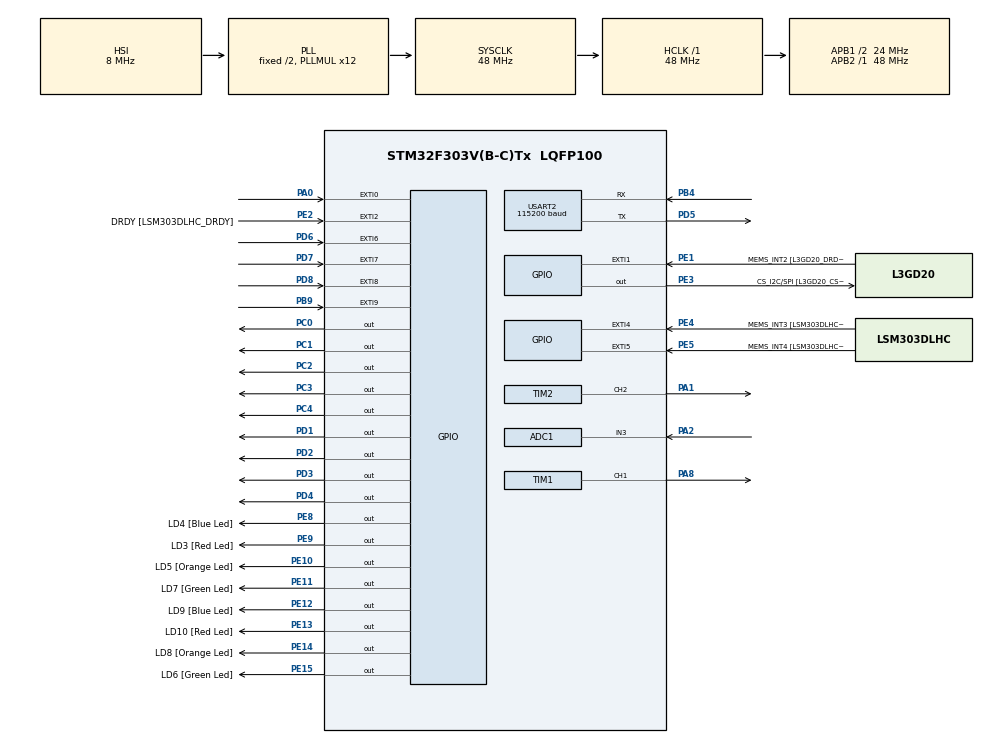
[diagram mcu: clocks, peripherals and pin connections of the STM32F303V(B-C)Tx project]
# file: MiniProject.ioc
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ADC1.Channel-0\#ChannelRegularConversion=ADC_CHANNEL_3
ADC1.NbrOfConversionFlag=1
ADC1.Offset-0\#ChannelRegularConversion=0
ADC1.OffsetNumber-0\#ChannelRegularConversion=ADC_OFFSET_NONE
ADC1.Rank-0\#ChannelRegularConversion=1
ADC1.SamplingTime-0\#ChannelRegularConversion=ADC_SAMPLETIME_181CYCLES_5
ADC1.SamplingTimeOPAMP-0\#ChannelRegularConversion=ADC_SAMPLETIME_19CYCLES_5
ADC1.master=1
Mcu.Family=STM32F3
Mcu.Name=STM32F303V(B-C)Tx
Mcu.Package=LQFP100
NVIC.ADC1_2_IRQn=true\:0\:0\:false\:false\:true\:true\:true\:true
NVIC.EXTI0_IRQn=true\:0\:0\:false\:false\:true\:true\:true\:true
NVIC.EXTI9_5_IRQn=true\:0\:0\:false\:false\:true\:true\:true\:true
NVIC.PriorityGroup=NVIC_PRIORITYGROUP_0
NVIC.TIM6_DAC_IRQn=true\:0\:0\:false\:false\:true\:true\:true\:true
NVIC.USART2_IRQn=true\:0\:0\:false\:false\:true\:true\:true\:true
PA0.GPIO_ModeDefaultEXTI=GPIO_MODE_IT_RISING
PA0.Signal=GPXTI0
PA1.Signal=S_TIM2_CH2
PA11.GPIO_Label=DM
PA11.Signal=USB_DM
PA12.GPIO_Label=DP
PA12.Signal=USB_DP
PA13.GPIO_Label=SWDIO
PA13.Signal=SYS_JTMS-SWDIO
PA14.GPIO_Label=SWCLK
PA14.Signal=SYS_JTCK-SWCLK
PA2.Mode=IN3-Single-Ended
PA2.Signal=ADC1_IN3
PA5.GPIO_Label=SPI1_SCK [L3GD20_SCL/SPC]
PA5.GPIO_Mode=GPIO_MODE_AF_PP
PA5.GPIO_PuPd=GPIO_NOPULL
PA5.GPIO_Speed=GPIO_SPEED_FREQ_LOW
PA5.Signal=SPI1_SCK
PA6.GPIO_Label=SPI1_MISO [L3GD20_SA0/SDO]
PA6.GPIO_Mode=GPIO_MODE_AF_PP
PA6.GPIO_PuPd=GPIO_NOPULL
PA6.GPIO_Speed=GPIO_SPEED_FREQ_LOW
PA6.Signal=SPI1_MISO
PA7.GPIO_Label=SPI1_MISO [L3GD20_SDA/SDI/SDO]
PA7.GPIO_Mode=GPIO_MODE_AF_PP
PA7.GPIO_PuPd=GPIO_NOPULL
PA7.GPIO_Speed=GPIO_SPEED_FREQ_LOW
PA7.Signal=SPI1_MOSI
PA8.Signal=S_TIM1_CH1
PB3.GPIO_Label=SWO
PB3.Signal=SYS_JTDO-TRACESWO
PB4.Mode=Asynchronous
PB4.Signal=USART2_RX
PB6.GPIO_FM6=__NULL
PB6.GPIO_Label=I2C1_SCL [LSM303DLHC_SCL]
PB6.GPIO_Mode=GPIO_MODE_AF_OD
PB6.GPIO_PuPd=GPIO_NOPULL
PB6.GPIO_Speed=GPIO_SPEED_FREQ_LOW
PB6.Signal=I2C1_SCL
PB7.GPIO_FM7=__NULL
PB7.GPIO_Label=I2C1_SDA [LSM303DLHC_SDA]
PB7.GPIO_Mode=GPIO_MODE_AF_OD
PB7.GPIO_PuPd=GPIO_NOPULL
PB7.GPIO_Speed=GPIO_SPEED_FREQ_LOW
PB7.Signal=I2C1_SDA
PB9.GPIO_ModeDefaultEXTI=GPIO_MODE_IT_RISING_FALLING
PB9.GPIO_PuPd=GPIO_PULLDOWN
PB9.Signal=GPXTI9
PC0.Signal=GPIO_Output
PC1.Signal=GPIO_Output
PC14-OSC32_IN.GPIO_Label=OSC32_IN
PC14-OSC32_IN.Signal=RCC_OSC32_IN
PC15-OSC32_OUT.GPIO_Label=OSC32_OUT
PC15-OSC32_OUT.Signal=RCC_OSC32_OUT
PC2.Signal=GPIO_Output
PC3.Signal=GPIO_Output
PC4.Signal=GPIO_Output
PD1.Signal=GPIO_Output
PD2.Signal=GPIO_Output
PD3.Signal=GPIO_Output
PD4.Signal=GPIO_Output
PD5.Mode=Asynchronous
PD5.Signal=USART2_TX
PD6.GPIO_ModeDefaultEXTI=GPIO_MODE_IT_RISING_FALLING
PD6.GPIO_PuPd=GPIO_PULLDOWN
PD6.Signal=GPXTI6
PD7.GPIO_ModeDefaultEXTI=GPIO_MODE_IT_RISING_FALLING
PD7.GPIO_PuPd=GPIO_PULLDOWN
PD7.Signal=GPXTI7
PD8.GPIO_ModeDefaultEXTI=GPIO_MODE_IT_RISING_FALLING
PD8.GPIO_PuPd=GPIO_PULLDOWN
PD8.Signal=GPXTI8
PE1.GPIO_Label=MEMS_INT2 [L3GD20_DRDY/INT2]
PE1.GPIO_ModeDefaultEXTI=GPIO_MODE_EVT_RISING
PE1.GPIO_PuPd=GPIO_NOPULL
PE1.Signal=GPXTI1
PE10.GPIO_Label=LD5 [Orange Led]
PE10.GPIO_ModeDefaultOutputPP=GPIO_MODE_OUTPUT_PP
PE10.GPIO_PuPd=GPIO_NOPULL
PE10.GPIO_Speed=GPIO_SPEED_FREQ_LOW
PE10.Signal=GPIO_Output
PE11.GPIO_Label=LD7 [Green Led]
PE11.GPIO_ModeDefaultOutputPP=GPIO_MODE_OUTPUT_PP
PE11.GPIO_PuPd=GPIO_NOPULL
PE11.GPIO_Speed=GPIO_SPEED_FREQ_LOW
PE11.Signal=GPIO_Output
PE12.GPIO_Label=LD9 [Blue Led]
PE12.GPIO_ModeDefaultOutputPP=GPIO_MODE_OUTPUT_PP
PE12.GPIO_PuPd=GPIO_NOPULL
PE12.GPIO_Speed=GPIO_SPEED_FREQ_LOW
PE12.Signal=GPIO_Output
PE13.GPIO_Label=LD10 [Red Led]
PE13.GPIO_ModeDefaultOutputPP=GPIO_MODE_OUTPUT_PP
PE13.GPIO_PuPd=GPIO_NOPULL
PE13.GPIO_Speed=GPIO_SPEED_FREQ_LOW
PE13.Signal=GPIO_Output
PE14.GPIO_Label=LD8 [Orange Led]
PE14.GPIO_ModeDefaultOutputPP=GPIO_MODE_OUTPUT_PP
PE14.GPIO_PuPd=GPIO_NOPULL
PE14.GPIO_Speed=GPIO_SPEED_FREQ_LOW
PE14.Signal=GPIO_Output
PE15.GPIO_Label=LD6 [Green Led]
PE15.GPIO_ModeDefaultOutputPP=GPIO_MODE_OUTPUT_PP
PE15.GPIO_PuPd=GPIO_NOPULL
PE15.GPIO_Speed=GPIO_SPEED_FREQ_LOW
PE15.Signal=GPIO_Output
PE2.GPIO_Label=DRDY [LSM303DLHC_DRDY]
PE2.GPIO_ModeDefaultEXTI=GPIO_MODE_EVT_RISING
PE2.GPIO_PuPd=GPIO_NOPULL
PE2.Signal=GPXTI2
PE3.GPIO_Label=CS_I2C/SPI [L3GD20_CS_I2C/SPI]
PE3.GPIO_ModeDefaultOutputPP=GPIO_MODE_OUTPUT_PP
PE3.GPIO_PuPd=GPIO_NOPULL
PE3.GPIO_Speed=GPIO_SPEED_FREQ_LOW
PE3.Signal=GPIO_Output
PE4.GPIO_Label=MEMS_INT3 [LSM303DLHC_INT1]
PE4.GPIO_ModeDefaultEXTI=GPIO_MODE_EVT_RISING
PE4.GPIO_PuPd=GPIO_NOPULL
PE4.Signal=GPXTI4
PE5.GPIO_Label=MEMS_INT4 [LSM303DLHC_INT2]
PE5.GPIO_ModeDefaultEXTI=GPIO_MODE_EVT_RISING
PE5.GPIO_PuPd=GPIO_NOPULL
PE5.Signal=GPXTI5
PE8.GPIO_Label=LD4 [Blue Led]
PE8.GPIO_ModeDefaultOutputPP=GPIO_MODE_OUTPUT_PP
PE8.GPIO_PuPd=GPIO_NOPULL
PE8.GPIO_Speed=GPIO_SPEED_FREQ_LOW
PE8.Signal=GPIO_Output
PE9.GPIO_Label=LD3 [Red Led]
PE9.GPIO_ModeDefaultOutputPP=GPIO_MODE_OUTPUT_PP
PE9.GPIO_PuPd=GPIO_NOPULL
PE9.GPIO_Speed=GPIO_SPEED_FREQ_LOW
PE9.Signal=GPIO_Output
PF0-OSC_IN.GPIO_Label=OSC_IN
PF0-OSC_IN.Signal=RCC_OSC_IN
PF1-OSC_OUT.GPIO_Label=OSC_OUT
PF1-OSC_OUT.Signal=RCC_OSC_OUT
ProjectManager.HeapSize=0x200
ProjectManager.StackSize=0x400
ProjectManager.TargetToolchain=STM32CubeIDE
RCC.AHBFreq_Value=48000000
RCC.APB1CLKDivider=RCC_HCLK_DIV2
RCC.APB1Freq_Value=24000000
RCC.APB1TimFreq_Value=48000000
RCC.APB2Freq_Value=48000000
RCC.APB2TimFreq_Value=48000000
RCC.CortexFreq_Value=48000000
RCC.HCLKFreq_Value=48000000
RCC.HSE_VALUE=8000000
RCC.HSI_VALUE=8000000
RCC.LSE_VALUE=32768
RCC.PLLMUL=RCC_PLL_MUL12
RCC.SYSCLKFreq_VALUE=48000000
RCC.SYSCLKSourceVirtual=RCC_SYSCLKSOURCE_PLLCLK
RCC.USBFreq_Value=48000000
SH.S_TIM1_CH1.0=TIM1_CH1,PWM Generation1 CH1
SH.S_TIM2_CH2.0=TIM2_CH2,PWM Generation2 CH2
TIM1.Channel-PWM\ Generation1\ CH1=TIM_CHANNEL_1
TIM1.Period=1000-1
TIM1.Prescaler=48-1
TIM2.Channel-PWM\ Generation2\ CH2=TIM_CHANNEL_2
TIM2.Channel-PWM\ Generation3\ CH3=TIM_CHANNEL_3
TIM6.Period=100-1
TIM6.Prescaler=240-1
USART2.BaudRate=115200
USART2.VirtualMode-Asynchronous=VM_ASYNC
VP_TIM1_VS_ClockSourceINT.Mode=Internal
VP_TIM2_VS_ClockSourceINT.Mode=Internal
VP_TIM6_VS_ClockSourceINT.Mode=Enable_Timer
board=STM32F3DISCOVERY

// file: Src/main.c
/* USER CODE BEGIN Header */
/**
  ******************************************************************************
  * @file           : main.c
  * @brief          : Main program body
  ******************************************************************************
  * @attention
  *
  * Copyright (c) 2024 STMicroelectronics.
  * All rights reserved.
  *
  * This software is licensed under terms that can be found in the LICENSE file
  * in the root directory of this software component.
  * If no LICENSE file comes with this software, it is provided AS-IS.
  *
  ******************************************************************************
  */
/* USER CODE END Header */
#include "main.h"

ADC_HandleTypeDef hadc1;

TIM_HandleTypeDef htim1;
TIM_HandleTypeDef htim2;
TIM_HandleTypeDef htim6;

UART_HandleTypeDef huart2;

void SystemClock_Config(void);
static void MX_GPIO_Init(void);
static void MX_TIM6_Init(void);
static void MX_TIM1_Init(void);
static void MX_TIM2_Init(void);
static void MX_ADC1_Init(void);
static void MX_USART2_UART_Init(void);

/* USER CODE BEGIN 0 */
#define ARRAY_LENGTH(arr) (sizeof(arr)/sizeof(arr[0]))
#define DEBOUNCE_TIME 100
#define MAX_MUSIC 4

#define D1_HIGH HAL_GPIO_WritePin(GPIOD, GPIO_PIN_1, GPIO_PIN_SET);
#define D1_LOW HAL_GPIO_WritePin(GPIOD, GPIO_PIN_1, GPIO_PIN_RESET);

#define D2_HIGH HAL_GPIO_WritePin(GPIOD, GPIO_PIN_2, GPIO_PIN_SET);
#define D2_LOW HAL_GPIO_WritePin(GPIOD, GPIO_PIN_2, GPIO_PIN_RESET);

#define D3_HIGH HAL_GPIO_WritePin(GPIOD, GPIO_PIN_3, GPIO_PIN_SET);
#define D3_LOW HAL_GPIO_WritePin(GPIOD, GPIO_PIN_3, GPIO_PIN_RESET);

#define D4_HIGH HAL_GPIO_WritePin(GPIOD, GPIO_PIN_4, GPIO_PIN_SET);
#define D4_LOW HAL_GPIO_WritePin(GPIOD, GPIO_PIN_4, GPIO_PIN_RESET);

#define P_HIGH HAL_GPIO_WritePin(GPIOC, GPIO_PIN_4, GPIO_PIN_SET);
#define P_LOW HAL_GPIO_WritePin(GPIOC, GPIO_PIN_4, GPIO_PIN_RESET);

typedef struct
{
    uint16_t frequency;
    uint16_t duration;
} Tone;

uint32_t debounce=0;
int press=0;
int pause = 1;
int music_number=0;
int turn_m[MAX_MUSIC];

extern TIM_HandleTypeDef htim2;
TIM_HandleTypeDef *pwm_timer= &htim2;
uint32_t pwm_channel = TIM_CHANNEL_2;

const Tone *volatile melody_ptr;
volatile uint16_t melody_tone_count=0;
volatile uint16_t current_tone_number=1;
volatile uint32_t current_tone_end=0;
int volume =10;
volatile uint16_t pre_volume;
volatile uint32_t last_butten_pressed;

uint32_t startTime=0;
int turn=1;
uint8_t temp1=1, temp2=2, temp3=3, temp4=4;
int mode=1, display=1;

uint8_t data[100], d, letter=0;

int second=0, flag_second=0;
uint32_t second_pause;

int brightness=100;

////////////////////////////////// music

#define NOTE_B0  31
#define NOTE_C1  33
#define NOTE_CS1 35
#define NOTE_D1  37
#define NOTE_DS1 39
#define NOTE_E1  41
#define NOTE_F1  44
#define NOTE_FS1 46
#define NOTE_G1  49
#define NOTE_GS1 52
#define NOTE_A1  55
#define NOTE_AS1 58
#define NOTE_B1  62
#define NOTE_C2  65
#define NOTE_CS2 69
#define NOTE_D2  73
#define NOTE_DS2 78
#define NOTE_E2  82
#define NOTE_F2  87
#define NOTE_FS2 93
#define NOTE_G2  98
#define NOTE_GS2 104
#define NOTE_A2  110
#define NOTE_AS2 117
#define NOTE_B2  123
#define NOTE_C3  131
#define NOTE_CS3 139
#define NOTE_D3  147
#define NOTE_DS3 156
#define NOTE_E3  165
#define NOTE_F3  175
#define NOTE_FS3 185
#define NOTE_G3  196
#define NOTE_GS3 208
#define NOTE_A3  220
#define NOTE_AS3 233
#define NOTE_B3  247
#define NOTE_C4  262
#define NOTE_CS4 277
#define NOTE_D4  294
#define NOTE_DS4 311
#define NOTE_E4  330
#define NOTE_F4  349
#define NOTE_FS4 370
#define NOTE_G4  392
#define NOTE_GS4 415
#define NOTE_A4  440
#define NOTE_AS4 466
#define NOTE_B4  494
#define NOTE_C5  523
#define NOTE_CS5 554
#define NOTE_D5  587
#define NOTE_DS5 622
#define NOTE_E5  659
#define NOTE_F5  698
#define NOTE_FS5 740
#define NOTE_G5  784
#define NOTE_GS5 831
#define NOTE_A5  880
#define NOTE_AS5 932
#define NOTE_B5  988
#define NOTE_C6  1047
#define NOTE_CS6 1109
#define NOTE_D6  1175
#define NOTE_DS6 1245
#define NOTE_E6  1319
#define NOTE_F6  1397
#define NOTE_FS6 1480
#define NOTE_G6  1568
#define NOTE_GS6 1661
#define NOTE_A6  1760
#define NOTE_AS6 1865
#define NOTE_B6  1976
#define NOTE_C7  2093
#define NOTE_CS7 2217
#define NOTE_D7  2349
#define NOTE_DS7 2489
#define NOTE_E7  2637
#define NOTE_F7  2794
#define NOTE_FS7 2960
#define NOTE_G7  3136
#define NOTE_GS7 3322
#define NOTE_A7  3520
#define NOTE_AS7 3729
#define NOTE_B7  3951
#define NOTE_C8  4186
#define NOTE_CS8 4435
#define NOTE_D8  4699
#define NOTE_DS8 4978
#define REST      0

const Tone super_mario_bros[] = {
	{2637,306}, // E7 x2
	{   0,153}, // x3 <-- Silence
	{2637,153}, // E7
	{   0,153}, // x3
	{2093,153}, // C7
	{2637,153}, // E7
	{   0,153}, // x3
	{3136,153}, // G7
	{   0,459}, // x3
	{1586,153}, // G6
	{   0,459}, // x3

	{2093,153}, // C7
	{   0,306}, // x2
	{1586,153}, // G6
	{   0,306}, // x2
	{1319,153}, // E6
	{   0,306}, // x2
	{1760,153}, // A6
	{   0,153}, // x1
	{1976,153}, // B6
	{   0,153}, // x1
	{1865,153}, // AS6
	{1760,153}, // A6
	{   0,153}, // x1

	{1586,204}, // G6
	{2637,204}, // E7
	{3136,204}, // G7
	{3520,153}, // A7
	{   0,153}, // x1
	{2794,153}, // F7
	{3136,153}, // G7
	{   0,153}, // x1
	{2637,153}, // E7
	{   0,153}, // x1
	{2093,153}, // C7
	{2349,153}, // D7
	{1976,153}, // B6
	{   0,306}, // x2

	{2093,153}, // C7
	{   0,306}, // x2
	{1586,153}, // G6
	{   0,306}, // x2
	{1319,153}, // E6
	{   0,306}, // x2
	{1760,153}, // A6
	{   0,153}, // x1
	{1976,153}, // B6
	{   0,153}, // x1
	{1865,153}, // AS6
	{1760,153}, // A6
	{   0,153}, // x1

	{1586,204}, // G6
	{2637,204}, // E7
	{3136,204}, // G7
	{3520,153}, // A7
	{   0,153}, // x1
	{2794,153}, // F7
	{3136,153}, // G7
	{   0,153}, // x1
	{2637,153}, // E7
	{   0,153}, // x1
	{2093,153}, // C7
	{2349,153}, // D7
	{1976,153}, // B6

	{   0,  0}	// <-- Disable PWM
};

const Tone hedwig_theme[] = {
		// 1 -> 1666 			\		-1666 -> 2499 			\	1660 -> 1494, 2499 -> 2249
		// 2 -> 833     ---------\		-833 -> 1249    ---------\	833 -> 750, 1249 -> 1124
		// 4 -> 416     ---------/		-416 -> 624     ---------/	416 -> 374, 624 -> 561
		// 8 -> 208			    /		-208 -> 312			    /	208 -> 187, 312 -> 281

	{REST, 750},
	{NOTE_D4, 374},
	{NOTE_G4, 561},
	{NOTE_AS4, 187},
	{NOTE_A4, 374},
	{NOTE_G4, 750},
	{NOTE_D5, 374},
	{NOTE_C5, 1124},
	{NOTE_A4, 1124},
	{NOTE_G4, 561},
	{NOTE_AS4, 187},
	{NOTE_A4, 374},
	{NOTE_F4, 750},
	{NOTE_GS4, 374},
	{NOTE_D4, 2249},
	{NOTE_D4, 374},

	{NOTE_G4, 561},
	{NOTE_AS4, 187},
	{NOTE_A4, 374},
	{NOTE_G4, 750},
	{NOTE_D5, 374},
	{NOTE_F5, 750},
	{NOTE_E5, 374},
	{NOTE_DS5, 750},
	{NOTE_B4, 374},
	{NOTE_DS5, 561},
	{NOTE_D5, 187},
	{NOTE_CS5, 374},
	{NOTE_CS4, 750},
	{NOTE_B4, 374},
	{NOTE_G4, 2249},
	{NOTE_AS4, 374},

	{NOTE_D5, 750},
	{NOTE_AS4, 374},
	{NOTE_D5, 750},
	{NOTE_AS4, 374},
	{NOTE_DS5, 750},
	{NOTE_D5, 374},
	{NOTE_CS5, 750},
	{NOTE_A4, 374},
	{NOTE_AS4, 561},
	{NOTE_D5, 187},
	{NOTE_CS5, 374},
	{NOTE_CS4, 750},
	{NOTE_D4, 374},
	{NOTE_D5, 1700},
	{REST, 150},
	{NOTE_AS4, 374},

	{NOTE_D5, 750},
	{NOTE_AS4, 374},
	{NOTE_D5, 750},
	{NOTE_AS4, 374},
	{NOTE_F5, 750},
	{NOTE_E5, 374},
	{NOTE_DS5, 750},
	{NOTE_B4, 374},
	{NOTE_DS5, 561},
	{NOTE_D5, 187},
	{NOTE_CS5, 374},
	{NOTE_CS4, 750},
	{NOTE_AS4, 374},
	{NOTE_G4, 2249},

	{      0,    0}
};

const Tone pink_panther[] = {

	// 1 -> 2000 			\		-500 -> 750 (-4)	       \	2000 -> 1800 			(1)
	// 2 -> 1000    ---------\		-250 -> 375 (-8)   ---------\	1000 -> 900 			(2)
	// 4 -> 500     ---------/		-125 -> 187 (-16)  ---------/	500 -> 450, 750 -> 675 	(4), (-4)
	// 8 -> 250			    /		        			       /	250 -> 225, 375 -> 337 	(8), (-8)
	// 16 -> 125		   			 								125 -> 112, 187 -> 168 	(16), (-16)

  {REST, 900},
  {REST, 450},
  {REST, 225},
  {NOTE_DS4, 225},
  {NOTE_E4, 675},
  {REST, 225},
  {NOTE_FS4, 225},
  {NOTE_G4, 675},
  {REST, 225},
  {NOTE_DS4, 225},
  {NOTE_E4, 337},
  {NOTE_FS4, 225},
  {NOTE_G4, 337},
  {NOTE_C5, 225},
  {NOTE_B4, 337},
  {NOTE_B4, 225},
  {NOTE_G4, 337},
  {NOTE_B4, 225},
  {NOTE_AS4, 900},
  {NOTE_A4, 168},
  {NOTE_G4, 168},
  {NOTE_E4, 168},
  {NOTE_D4, 168},
  {NOTE_E4, 900},
  {REST, 450},
  {REST, 225},
  {NOTE_DS4, 450},

  {NOTE_E4, 675},
  {REST, 225},
  {NOTE_FS4, 225},
  {NOTE_G4, 675},
  {REST, 225},
  {NOTE_DS4, 225},
  {NOTE_E4, 337},
  {NOTE_FS4, 225},
  {NOTE_G4, 337},
  {NOTE_C5, 225},
  {NOTE_B4, 337},
  {NOTE_G4, 225},
  {NOTE_B4, 337},
  {NOTE_E5, 225},
  {NOTE_DS5, 1800},
  {NOTE_D5, 900},
  {REST, 450},
  {REST, 225},
  {NOTE_DS4, 225},
  {NOTE_E4, 750},
  {REST, 225},
  {NOTE_FS4, 225},
  {NOTE_G4, 750},
  {REST, 225},
  {NOTE_DS4, 225},
  {NOTE_E4, 337},
  {NOTE_FS4, 225},
  {NOTE_G4, 337},
  {NOTE_C5, 225},
  {NOTE_B4, 337},
  {NOTE_E4, 225},
  {NOTE_G4, 337},
  {NOTE_B4, 225},

  {NOTE_AS4, 900},
  {NOTE_A4, 168},
  {NOTE_G4, 168},
  {NOTE_E4, 168},
  {NOTE_D4, 168},
  {NOTE_E4, 675},
  {REST, 450},
  {REST, 450},
  {NOTE_E5, 337},
  {NOTE_D5, 225},
  {NOTE_B4, 337},
  {NOTE_A4, 225},
  {NOTE_G4, 337},
  {NOTE_E4, 337},
  {NOTE_AS4, 112},
  {NOTE_A4, 337},
  {NOTE_AS4, 112},
  {NOTE_A4, 337},
  {NOTE_AS4, 112},
  {NOTE_A4, 337},
  {NOTE_AS4, 112},
  {NOTE_A4, 337},
  {NOTE_G4, 168},
  {NOTE_E4, 168},
  {NOTE_D4, 168},
  {NOTE_E4, 112},
  {NOTE_E4, 112},
  {NOTE_E4, 900},
  {		 0,   0}

};

const Tone twinkle_twinkle[] = {
    {523, 500}, // C4
    {523, 500}, // C4
    {659, 500}, // E4
    {659, 500}, // E4
    {739, 500}, // F4
    {739, 500}, // F4
    {659, 500}, // E4
    {587, 500}, // D4
    {587, 500}, // D4
    {523, 500}, // C4
    {523, 500}, // C4
    {659, 500}, // E4
    {659, 500}, // E4
    {587, 500}, // D4
    {587, 500}, // D4
    {523, 500}, // C4
    {0, 0}      // End
};

void PWM_Start() {

    HAL_TIM_PWM_Start(pwm_timer, pwm_channel);
}

void PWM_Cange_Tone(uint16_t pwm_freq, uint16_t volume) {
    if (pwm_freq == 0 || pwm_freq > 20000) {
        __HAL_TIM_SET_COMPARE(pwm_timer, pwm_channel, 0);
    } else {
        const uint32_t internal_clock_freq = HAL_RCC_GetSysClockFreq();

        const uint32_t prescaler = 1 + internal_clock_freq / pwm_freq / 60000;
        const uint32_t timer_clock = internal_clock_freq / prescaler;
        const uint32_t period_cycles = timer_clock / pwm_freq;
        const uint32_t pulse_width = volume * period_cycles / 1000 / 2;

        pwm_timer->Instance->PSC = prescaler - 1;
        pwm_timer->Instance->ARR = period_cycles - 1;
        pwm_timer->Instance->EGR = TIM_EGR_UG;

        __HAL_TIM_SET_COMPARE(pwm_timer, pwm_channel, pulse_width);
    }
}

void Update_music(int input) {

	if (!input) {
		music_number++;

		if (music_number > MAX_MUSIC)
		music_number=1;
	}

	switch(turn_m[music_number-1]){
	  case 1:
		  Change_Melody(super_mario_bros, ARRAY_LENGTH(super_mario_bros));
		  break;
	  case 2:
		  Change_Melody(hedwig_theme, ARRAY_LENGTH(hedwig_theme));
		  break;
	  case 3:
		  Change_Melody(pink_panther, ARRAY_LENGTH(pink_panther));
		  break;
	  case 4:
	  		  Change_Melody(twinkle_twinkle, ARRAY_LENGTH(twinkle_twinkle));
	  		  break;
	}
}

void Change_Melody (const Tone *melody, uint16_t tone_count) {
	melody_ptr = melody;
	melody_tone_count = tone_count;
	current_tone_number=0;
}

void Update_melody() {
	if ((HAL_GetTick() > current_tone_end) && (current_tone_number < melody_tone_count) ) {
		const Tone active_tone = *(melody_ptr + current_tone_number);
		PWM_Cange_Tone (active_tone.frequency, volume);
		current_tone_end = HAL_GetTick() + active_tone.duration;
		current_tone_number++;
	} else if (current_tone_number == melody_tone_count) {
		HAL_GPIO_TogglePin(GPIOE, GPIO_PIN_10);
		Update_music(0);
	}
}

void set_array(int type) {
	if (!type) {
		for(int i = 0; i < MAX_MUSIC; i++) {
			turn_m[i]=i+1;
		}
	} else {

		for (int i = MAX_MUSIC - 1; i > 0; i--) {
			int j = rand() % (i + 1);
			int temp = turn_m[i];
			turn_m[i] = turn_m[j];
			turn_m[j] = temp;
		}

		char s[10];
		snprintf(s, 10, "%d% d% d% d", turn_m[0], turn_m[1], turn_m[2], turn_m[3]);
		HAL_UART_Transmit(&huart2, s, strlen(s), HAL_MAX_DELAY);

		HAL_GPIO_TogglePin(GPIOE, GPIO_PIN_9);
	}

}

////////////////////////////////// 7 segments

uint8_t segmentNumber[10]={
			0x00,
			0x01,
			0x02,
			0x03,
			0x04,
			0x05,
			0x06,
			0x07,
			0x08,
			0x09
};

void SevenSegment_Update(uint8_t number){
	uint8_t segmentPattern = segmentNumber[number];
    HAL_GPIO_WritePin(GPIOC, GPIO_PIN_0, ((segmentPattern >> 0) & 0x01));
    HAL_GPIO_WritePin(GPIOC, GPIO_PIN_1, ((segmentPattern >> 1) & 0x01));
    HAL_GPIO_WritePin(GPIOC, GPIO_PIN_2, ((segmentPattern >> 2) & 0x01));
    HAL_GPIO_WritePin(GPIOC, GPIO_PIN_3, ((segmentPattern >> 3) & 0x01));

}

void refresh_7segments () {

	switch (mode) {
	case 1:
		display = turn_m[music_number-1];
	case 2:
		display = turn_m[music_number-1];
		break;
	case 3:
		display = volume;
		break;
	case 4:
			display = brightness;
			break;
	}

	temp1 = display / 1000;
	temp2 = (display / 100) % 10;
	temp3 = (display / 10) % 10;
	temp4 = display % 10;

	if (turn==1 && ((HAL_GetTick() - startTime) > 5)) {
		D4_LOW;
		SevenSegment_Update(temp1);  // Display the thousands digit
		D1_HIGH;
		turn++;
		startTime = HAL_GetTick();
		P_HIGH;
	}

	if (turn==2 && ((HAL_GetTick() - startTime) > 5)) {
		D1_LOW;
		SevenSegment_Update(temp2);  // Display the thousands digit
		D2_HIGH;
		turn++;
		startTime = HAL_GetTick();
		P_LOW;
	}

	if (turn==3 && ((HAL_GetTick() - startTime) > 5)) {
		D2_LOW;
		SevenSegment_Update(temp3);  // Display the hundreds digit
		D3_HIGH;
		turn++;
		startTime = HAL_GetTick();
		P_HIGH;
	}

	if (turn==4 && ((HAL_GetTick() - startTime) > 5)) {
		D3_LOW;
		SevenSegment_Update(temp4);  // Display the ones digit
		D4_HIGH;
		turn=1;
		startTime = HAL_GetTick();
		P_HIGH;
	}
}

/* USER CODE END 0 */

int main(void)
{

  /* MCU Configuration--------------------------------------------------------*/

  /* Reset of all peripherals, Initializes the Flash interface and the Systick. */
  HAL_Init();

  /* Configure the system clock */
  SystemClock_Config();

  /* Initialize all configured peripherals */
  MX_GPIO_Init();
  MX_TIM6_Init();
  MX_TIM1_Init();
  MX_TIM2_Init();
  MX_ADC1_Init();
  MX_USART2_UART_Init();
  /* USER CODE BEGIN 2 */
  HAL_TIM_Base_Start_IT(&htim6);
  HAL_UART_Receive_IT(&huart2, &d, 1);
  HAL_ADC_Start_IT(&hadc1);

  HAL_TIM_PWM_Start(&htim1, TIM_CHANNEL_1);
  __HAL_TIM_SET_COMPARE(&htim1, TIM_CHANNEL_1, brightness*10);
  set_array(0);
  /* USER CODE END 2 */

  /* Infinite loop */
  while (1)
  {

  }
}

void SystemClock_Config(void)
{
  RCC_OscInitTypeDef RCC_OscInitStruct = {0};
  RCC_ClkInitTypeDef RCC_ClkInitStruct = {0};
  RCC_PeriphCLKInitTypeDef PeriphClkInit = {0};

  /** Initializes the RCC Oscillators according to the specified parameters
  * in the RCC_OscInitTypeDef structure.
  */
  RCC_OscInitStruct.OscillatorType = RCC_OSCILLATORTYPE_HSI;
  RCC_OscInitStruct.HSIState = RCC_HSI_ON;
  RCC_OscInitStruct.HSICalibrationValue = RCC_HSICALIBRATION_DEFAULT;
  RCC_OscInitStruct.PLL.PLLState = RCC_PLL_ON;
  RCC_OscInitStruct.PLL.PLLSource = RCC_PLLSOURCE_HSI;
  RCC_OscInitStruct.PLL.PLLMUL = RCC_PLL_MUL12;
  if (HAL_RCC_OscConfig(&RCC_OscInitStruct) != HAL_OK)
  {
    Error_Handler();
  }

  /** Initializes the CPU, AHB and APB buses clocks
  */
  RCC_ClkInitStruct.ClockType = RCC_CLOCKTYPE_HCLK|RCC_CLOCKTYPE_SYSCLK
                              |RCC_CLOCKTYPE_PCLK1|RCC_CLOCKTYPE_PCLK2;
  RCC_ClkInitStruct.SYSCLKSource = RCC_SYSCLKSOURCE_PLLCLK;
  RCC_ClkInitStruct.AHBCLKDivider = RCC_SYSCLK_DIV1;
  RCC_ClkInitStruct.APB1CLKDivider = RCC_HCLK_DIV2;
  RCC_ClkInitStruct.APB2CLKDivider = RCC_HCLK_DIV1;

  if (HAL_RCC_ClockConfig(&RCC_ClkInitStruct, FLASH_LATENCY_1) != HAL_OK)
  {
    Error_Handler();
  }
  PeriphClkInit.PeriphClockSelection = RCC_PERIPHCLK_USART2|RCC_PERIPHCLK_TIM1
                              |RCC_PERIPHCLK_ADC12;
  PeriphClkInit.Usart2ClockSelection = RCC_USART2CLKSOURCE_PCLK1;
  PeriphClkInit.Adc12ClockSelection = RCC_ADC12PLLCLK_DIV1;
  PeriphClkInit.Tim1ClockSelection = RCC_TIM1CLK_HCLK;
  if (HAL_RCCEx_PeriphCLKConfig(&PeriphClkInit) != HAL_OK)
  {
    Error_Handler();
  }
}

static void MX_ADC1_Init(void)
{

  ADC_MultiModeTypeDef multimode = {0};
  ADC_ChannelConfTypeDef sConfig = {0};

  /** Common config
  */
  hadc1.Instance = ADC1;
  hadc1.Init.ClockPrescaler = ADC_CLOCK_ASYNC_DIV1;
  hadc1.Init.Resolution = ADC_RESOLUTION_12B;
  hadc1.Init.ScanConvMode = ADC_SCAN_DISABLE;
  hadc1.Init.ContinuousConvMode = DISABLE;
  hadc1.Init.DiscontinuousConvMode = DISABLE;
  hadc1.Init.ExternalTrigConvEdge = ADC_EXTERNALTRIGCONVEDGE_NONE;
  hadc1.Init.ExternalTrigConv = ADC_SOFTWARE_START;
  hadc1.Init.DataAlign = ADC_DATAALIGN_RIGHT;
  hadc1.Init.NbrOfConversion = 1;
  hadc1.Init.DMAContinuousRequests = DISABLE;
  hadc1.Init.EOCSelection = ADC_EOC_SINGLE_CONV;
  hadc1.Init.LowPowerAutoWait = DISABLE;
  hadc1.Init.Overrun = ADC_OVR_DATA_OVERWRITTEN;
  if (HAL_ADC_Init(&hadc1) != HAL_OK)
  {
    Error_Handler();
  }

  /** Configure the ADC multi-mode
  */
  multimode.Mode = ADC_MODE_INDEPENDENT;
  if (HAL_ADCEx_MultiModeConfigChannel(&hadc1, &multimode) != HAL_OK)
  {
    Error_Handler();
  }

  /** Configure Regular Channel
  */
  sConfig.Channel = ADC_CHANNEL_3;
  sConfig.Rank = ADC_REGULAR_RANK_1;
  sConfig.SingleDiff = ADC_SINGLE_ENDED;
  sConfig.SamplingTime = ADC_SAMPLETIME_181CYCLES_5;
  sConfig.OffsetNumber = ADC_OFFSET_NONE;
  sConfig.Offset = 0;
  if (HAL_ADC_ConfigChannel(&hadc1, &sConfig) != HAL_OK)
  {
    Error_Handler();
  }

}

static void MX_TIM1_Init(void)
{

  TIM_ClockConfigTypeDef sClockSourceConfig = {0};
  TIM_MasterConfigTypeDef sMasterConfig = {0};
  TIM_OC_InitTypeDef sConfigOC = {0};
  TIM_BreakDeadTimeConfigTypeDef sBreakDeadTimeConfig = {0};

  htim1.Instance = TIM1;
  htim1.Init.Prescaler = 48-1;
  htim1.Init.CounterMode = TIM_COUNTERMODE_UP;
  htim1.Init.Period = 1000-1;
  htim1.Init.ClockDivision = TIM_CLOCKDIVISION_DIV1;
  htim1.Init.RepetitionCounter = 0;
  htim1.Init.AutoReloadPreload = TIM_AUTORELOAD_PRELOAD_DISABLE;
  if (HAL_TIM_Base_Init(&htim1) != HAL_OK)
  {
    Error_Handler();
  }
  sClockSourceConfig.ClockSource = TIM_CLOCKSOURCE_INTERNAL;
  if (HAL_TIM_ConfigClockSource(&htim1, &sClockSourceConfig) != HAL_OK)
  {
    Error_Handler();
  }
  if (HAL_TIM_PWM_Init(&htim1) != HAL_OK)
  {
    Error_Handler();
  }
  sMasterConfig.MasterOutputTrigger = TIM_TRGO_RESET;
  sMasterConfig.MasterOutputTrigger2 = TIM_TRGO2_RESET;
  sMasterConfig.MasterSlaveMode = TIM_MASTERSLAVEMODE_DISABLE;
  if (HAL_TIMEx_MasterConfigSynchronization(&htim1, &sMasterConfig) != HAL_OK)
  {
    Error_Handler();
  }
  sConfigOC.OCMode = TIM_OCMODE_PWM1;
  sConfigOC.Pulse = 0;
  sConfigOC.OCPolarity = TIM_OCPOLARITY_HIGH;
  sConfigOC.OCNPolarity = TIM_OCNPOLARITY_HIGH;
  sConfigOC.OCFastMode = TIM_OCFAST_DISABLE;
  sConfigOC.OCIdleState = TIM_OCIDLESTATE_RESET;
  sConfigOC.OCNIdleState = TIM_OCNIDLESTATE_RESET;
  if (HAL_TIM_PWM_ConfigChannel(&htim1, &sConfigOC, TIM_CHANNEL_1) != HAL_OK)
  {
    Error_Handler();
  }
  sBreakDeadTimeConfig.OffStateRunMode = TIM_OSSR_DISABLE;
  sBreakDeadTimeConfig.OffStateIDLEMode = TIM_OSSI_DISABLE;
  sBreakDeadTimeConfig.LockLevel = TIM_LOCKLEVEL_OFF;
  sBreakDeadTimeConfig.DeadTime = 0;
  sBreakDeadTimeConfig.BreakState = TIM_BREAK_DISABLE;
  sBreakDeadTimeConfig.BreakPolarity = TIM_BREAKPOLARITY_HIGH;
  sBreakDeadTimeConfig.BreakFilter = 0;
  sBreakDeadTimeConfig.Break2State = TIM_BREAK2_DISABLE;
  sBreakDeadTimeConfig.Break2Polarity = TIM_BREAK2POLARITY_HIGH;
  sBreakDeadTimeConfig.Break2Filter = 0;
  sBreakDeadTimeConfig.AutomaticOutput = TIM_AUTOMATICOUTPUT_DISABLE;
  if (HAL_TIMEx_ConfigBreakDeadTime(&htim1, &sBreakDeadTimeConfig) != HAL_OK)
  {
    Error_Handler();
  }
  HAL_TIM_MspPostInit(&htim1);

}

static void MX_TIM2_Init(void)
{

  TIM_ClockConfigTypeDef sClockSourceConfig = {0};
  TIM_MasterConfigTypeDef sMasterConfig = {0};
  TIM_OC_InitTypeDef sConfigOC = {0};

  htim2.Instance = TIM2;
  htim2.Init.Prescaler = 0;
  htim2.Init.CounterMode = TIM_COUNTERMODE_UP;
  htim2.Init.Period = 4294967295;
  htim2.Init.ClockDivision = TIM_CLOCKDIVISION_DIV1;
  htim2.Init.AutoReloadPreload = TIM_AUTORELOAD_PRELOAD_DISABLE;
  if (HAL_TIM_Base_Init(&htim2) != HAL_OK)
  {
    Error_Handler();
  }
  sClockSourceConfig.ClockSource = TIM_CLOCKSOURCE_INTERNAL;
  if (HAL_TIM_ConfigClockSource(&htim2, &sClockSourceConfig) != HAL_OK)
  {
    Error_Handler();
  }
  if (HAL_TIM_PWM_Init(&htim2) != HAL_OK)
  {
    Error_Handler();
  }
  sMasterConfig.MasterOutputTrigger = TIM_TRGO_RESET;
  sMasterConfig.MasterSlaveMode = TIM_MASTERSLAVEMODE_DISABLE;
  if (HAL_TIMEx_MasterConfigSynchronization(&htim2, &sMasterConfig) != HAL_OK)
  {
    Error_Handler();
  }
  sConfigOC.OCMode = TIM_OCMODE_PWM1;
  sConfigOC.Pulse = 0;
  sConfigOC.OCPolarity = TIM_OCPOLARITY_HIGH;
  sConfigOC.OCFastMode = TIM_OCFAST_DISABLE;
  if (HAL_TIM_PWM_ConfigChannel(&htim2, &sConfigOC, TIM_CHANNEL_2) != HAL_OK)
  {
    Error_Handler();
  }
  HAL_TIM_MspPostInit(&htim2);

}

static void MX_TIM6_Init(void)
{

  TIM_MasterConfigTypeDef sMasterConfig = {0};

  htim6.Instance = TIM6;
  htim6.Init.Prescaler = 240-1;
  htim6.Init.CounterMode = TIM_COUNTERMODE_UP;
  htim6.Init.Period = 100-1;
  htim6.Init.AutoReloadPreload = TIM_AUTORELOAD_PRELOAD_DISABLE;
  if (HAL_TIM_Base_Init(&htim6) != HAL_OK)
  {
    Error_Handler();
  }
  sMasterConfig.MasterOutputTrigger = TIM_TRGO_RESET;
  sMasterConfig.MasterSlaveMode = TIM_MASTERSLAVEMODE_DISABLE;
  if (HAL_TIMEx_MasterConfigSynchronization(&htim6, &sMasterConfig) != HAL_OK)
  {
    Error_Handler();
  }

}

static void MX_USART2_UART_Init(void)
{

  huart2.Instance = USART2;
  huart2.Init.BaudRate = 115200;
  huart2.Init.WordLength = UART_WORDLENGTH_8B;
  huart2.Init.StopBits = UART_STOPBITS_1;
  huart2.Init.Parity = UART_PARITY_NONE;
  huart2.Init.Mode = UART_MODE_TX_RX;
  huart2.Init.HwFlowCtl = UART_HWCONTROL_NONE;
  huart2.Init.OverSampling = UART_OVERSAMPLING_16;
  huart2.Init.OneBitSampling = UART_ONE_BIT_SAMPLE_DISABLE;
  huart2.AdvancedInit.AdvFeatureInit = UART_ADVFEATURE_NO_INIT;
  if (HAL_UART_Init(&huart2) != HAL_OK)
  {
    Error_Handler();
  }

}

static void MX_GPIO_Init(void)
{
  GPIO_InitTypeDef GPIO_InitStruct = {0};

  /* GPIO Ports Clock Enable */
  __HAL_RCC_GPIOE_CLK_ENABLE();
  __HAL_RCC_GPIOC_CLK_ENABLE();
  __HAL_RCC_GPIOF_CLK_ENABLE();
  __HAL_RCC_GPIOA_CLK_ENABLE();
  __HAL_RCC_GPIOD_CLK_ENABLE();
  __HAL_RCC_GPIOB_CLK_ENABLE();

  /*Configure GPIO pin Output Level */
  HAL_GPIO_WritePin(GPIOE, CS_I2C_SPI_Pin|LD4_Pin|LD3_Pin|LD5_Pin
                          |LD7_Pin|LD9_Pin|LD10_Pin|LD8_Pin
                          |LD6_Pin, GPIO_PIN_RESET);

  /*Configure GPIO pin Output Level */
  HAL_GPIO_WritePin(GPIOC, GPIO_PIN_0|GPIO_PIN_1|GPIO_PIN_2|GPIO_PIN_3
                          |GPIO_PIN_4, GPIO_PIN_RESET);

  /*Configure GPIO pin Output Level */
  HAL_GPIO_WritePin(GPIOD, GPIO_PIN_1|GPIO_PIN_2|GPIO_PIN_3|GPIO_PIN_4, GPIO_PIN_RESET);

  /*Configure GPIO pins : DRDY_Pin MEMS_INT3_Pin MEMS_INT4_Pin MEMS_INT2_Pin */
  GPIO_InitStruct.Pin = DRDY_Pin|MEMS_INT3_Pin|MEMS_INT4_Pin|MEMS_INT2_Pin;
  GPIO_InitStruct.Mode = GPIO_MODE_EVT_RISING;
  GPIO_InitStruct.Pull = GPIO_NOPULL;
  HAL_GPIO_Init(GPIOE, &GPIO_InitStruct);

  /*Configure GPIO pins : CS_I2C_SPI_Pin LD4_Pin LD3_Pin LD5_Pin
                           LD7_Pin LD9_Pin LD10_Pin LD8_Pin
                           LD6_Pin */
  GPIO_InitStruct.Pin = CS_I2C_SPI_Pin|LD4_Pin|LD3_Pin|LD5_Pin
                          |LD7_Pin|LD9_Pin|LD10_Pin|LD8_Pin
                          |LD6_Pin;
  GPIO_InitStruct.Mode = GPIO_MODE_OUTPUT_PP;
  GPIO_InitStruct.Pull = GPIO_NOPULL;
  GPIO_InitStruct.Speed = GPIO_SPEED_FREQ_LOW;
  HAL_GPIO_Init(GPIOE, &GPIO_InitStruct);

  /*Configure GPIO pins : PC0 PC1 PC2 PC3
                           PC4 */
  GPIO_InitStruct.Pin = GPIO_PIN_0|GPIO_PIN_1|GPIO_PIN_2|GPIO_PIN_3
                          |GPIO_PIN_4;
  GPIO_InitStruct.Mode = GPIO_MODE_OUTPUT_PP;
  GPIO_InitStruct.Pull = GPIO_NOPULL;
  GPIO_InitStruct.Speed = GPIO_SPEED_FREQ_LOW;
  HAL_GPIO_Init(GPIOC, &GPIO_InitStruct);

  /*Configure GPIO pin : PA0 */
  GPIO_InitStruct.Pin = GPIO_PIN_0;
  GPIO_InitStruct.Mode = GPIO_MODE_IT_RISING;
  GPIO_InitStruct.Pull = GPIO_NOPULL;
  HAL_GPIO_Init(GPIOA, &GPIO_InitStruct);

  /*Configure GPIO pins : SPI1_SCK_Pin SPI1_MISO_Pin SPI1_MISOA7_Pin */
  GPIO_InitStruct.Pin = SPI1_SCK_Pin|SPI1_MISO_Pin|SPI1_MISOA7_Pin;
  GPIO_InitStruct.Mode = GPIO_MODE_AF_PP;
  GPIO_InitStruct.Pull = GPIO_NOPULL;
  GPIO_InitStruct.Speed = GPIO_SPEED_FREQ_LOW;
  GPIO_InitStruct.Alternate = GPIO_AF5_SPI1;
  HAL_GPIO_Init(GPIOA, &GPIO_InitStruct);

  /*Configure GPIO pins : PD8 PD6 PD7 */
  GPIO_InitStruct.Pin = GPIO_PIN_8|GPIO_PIN_6|GPIO_PIN_7;
  GPIO_InitStruct.Mode = GPIO_MODE_IT_RISING_FALLING;
  GPIO_InitStruct.Pull = GPIO_PULLDOWN;
  HAL_GPIO_Init(GPIOD, &GPIO_InitStruct);

  /*Configure GPIO pins : DM_Pin DP_Pin */
  GPIO_InitStruct.Pin = DM_Pin|DP_Pin;
  GPIO_InitStruct.Mode = GPIO_MODE_AF_PP;
  GPIO_InitStruct.Pull = GPIO_NOPULL;
  GPIO_InitStruct.Speed = GPIO_SPEED_FREQ_HIGH;
  GPIO_InitStruct.Alternate = GPIO_AF14_USB;
  HAL_GPIO_Init(GPIOA, &GPIO_InitStruct);

  /*Configure GPIO pins : PD1 PD2 PD3 PD4 */
  GPIO_InitStruct.Pin = GPIO_PIN_1|GPIO_PIN_2|GPIO_PIN_3|GPIO_PIN_4;
  GPIO_InitStruct.Mode = GPIO_MODE_OUTPUT_PP;
  GPIO_InitStruct.Pull = GPIO_NOPULL;
  GPIO_InitStruct.Speed = GPIO_SPEED_FREQ_LOW;
  HAL_GPIO_Init(GPIOD, &GPIO_InitStruct);

  /*Configure GPIO pins : I2C1_SCL_Pin I2C1_SDA_Pin */
  GPIO_InitStruct.Pin = I2C1_SCL_Pin|I2C1_SDA_Pin;
  GPIO_InitStruct.Mode = GPIO_MODE_AF_OD;
  GPIO_InitStruct.Pull = GPIO_NOPULL;
  GPIO_InitStruct.Speed = GPIO_SPEED_FREQ_LOW;
  GPIO_InitStruct.Alternate = GPIO_AF4_I2C1;
  HAL_GPIO_Init(GPIOB, &GPIO_InitStruct);

  /*Configure GPIO pin : PB9 */
  GPIO_InitStruct.Pin = GPIO_PIN_9;
  GPIO_InitStruct.Mode = GPIO_MODE_IT_RISING_FALLING;
  GPIO_InitStruct.Pull = GPIO_PULLDOWN;
  HAL_GPIO_Init(GPIOB, &GPIO_InitStruct);

  /* EXTI interrupt init*/
  HAL_NVIC_SetPriority(EXTI0_IRQn, 0, 0);
  HAL_NVIC_EnableIRQ(EXTI0_IRQn);

  HAL_NVIC_SetPriority(EXTI9_5_IRQn, 0, 0);
  HAL_NVIC_EnableIRQ(EXTI9_5_IRQn);

}

/* USER CODE BEGIN 4 */

int musicNumber=0;

int extractMusic(const char *received) {
    // Define the expected prefix and suffix for the command
    const char prefix[] = "MUSIC_SET(";
    const char suffix[] = ")";

    // Check if the received string starts with the prefix
    if (strncmp(received, prefix, strlen(prefix)) != 0) {
        return 0; // Prefix doesn't match
    }

    // Find the start and end of the music number
    const char *musicStart = received + strlen(prefix);
    const char *musicEnd = strstr(musicStart, suffix);

    // If suffix not found or music number length exceeds the maximum allowed
    if (musicEnd == NULL) {
    	send_message(0, 1);
        return 0; // Invalid format or music number too long
    }

    for (const char *ptr = musicStart; ptr < musicEnd; ++ptr) {
		if (!isdigit(*ptr)) {
			send_message(0, 1);
			return 0; // Not a digit
		}
	}

    char str[5]; // Assuming volume can be at most 4 digits
	strncpy(str, musicStart, musicEnd - musicStart);
	str[musicEnd - musicStart] = '\0';

	if (atoi(str) < 1 || atoi(str) > MAX_MUSIC) {
		send_message(0, 1);
		return 0; // Volume out of range
	}

    // Extract and convert the music number
	music_number = atoi(str);

    return 1; // Music number extracted successfully
}

// Function to extract the volume from the received string
int extractVolume(const char *received) {
    // Define the expected prefix and suffix for the command
    const char prefix[] = "Change_Volume(";
    const char suffix[] = ")";

    // Check if the received string starts with the prefix
    if (strncmp(received, prefix, strlen(prefix)) != 0) {
        return 0; // Prefix doesn't match
    }

    // Find the start and end of the volume
    const char *volumeStart = received + strlen(prefix);
    const char *volumeEnd = strstr(volumeStart, suffix);

    // If suffix not found or volume length exceeds the maximum allowed
    if (volumeEnd == NULL) {
    	send_message(0, 2);
        return 0; // Invalid format or volume too long
    }

    for (const char *ptr = volumeStart; ptr < volumeEnd; ++ptr) {
		if (!isdigit(*ptr)) {
			send_message(0, 2);
			return 0; // Not a digit
		}
	}

    char str[5]; // Assuming volume can be at most 4 digits
	strncpy(str, volumeStart, volumeEnd - volumeStart);
	str[volumeEnd - volumeStart] = '\0';

	if (atoi(str) < 1 || atoi(str) > 100) {
		send_message(0, 2);
		return 0; // Volume out of range
	}

	// Extract and convert the music number
	volume = atoi(str);

    return 1; // Volume extracted successfully
}

int extractLed(const char *received) {
    // Define the expected prefix and suffix for the command
    const char prefix[] = "Change_LED(";
    const char suffix[] = ")";

    // Check if the received string starts with the prefix
    if (strncmp(received, prefix, strlen(prefix)) != 0) {
        return 0; // Prefix doesn't match
    }

    // Find the start and end of the volume
    const char *ledStart = received + strlen(prefix);
    const char *ledEnd = strstr(ledStart, suffix);

    // If suffix not found or volume length exceeds the maximum allowed
    if (ledEnd == NULL) {
    	send_message(0, 6);
        return 0; // Invalid format or volume too long
    }

    for (const char *ptr = ledStart; ptr < ledEnd; ++ptr) {
		if (!isdigit(*ptr)) {
			send_message(0, 6);
			return 0; // Not a digit
		}
	}

    char str[5]; // Assuming volume can be at most 4 digits
	strncpy(str, ledStart, ledEnd - ledStart);
	str[ledEnd - ledStart] = '\0';

	if (atoi(str) < 30 || atoi(str) > 100) {
		send_message(0, 6);
		return 0; // Volume out of range
	}

	// Extract and convert the music number
	brightness = atoi(str);

    return 1; // Volume extracted successfully
}

int extractarray(const char *received) {
    // Define the expected prefix and suffix for the command
    const char prefix[] = "Play_Mode(";
    const char suffix[] = ")";

    // Check if the received string starts with the prefix
    if (strncmp(received, prefix, strlen(prefix)) != 0) {
        return 0; // Prefix doesn't match
    }

    // Find the start and end of the mode
    const char *modeStart = received + strlen(prefix);
    const char *modeEnd = strstr(modeStart, suffix);

    // If suffix not found or mode length exceeds the maximum allowed
    if (modeEnd == NULL) { // Adjusted to fit the 7-char array + null terminator
    	send_message(0, 4);
        return 0; // Invalid format or mode too long
    }

    // Extract the mode string
    char str[8]; // 7 chars + null terminator
    strncpy(str, modeStart, modeEnd - modeStart);
    str[modeEnd - modeStart] = '\0'; // Null-terminate the string

    // Transmit the extracted string
    HAL_UART_Transmit(&huart2, str, strlen(str), 0xFFFFFFFF);

    // Check the extracted mode and perform actions
    if (strcmp(str, "SHUFFLE") == 0) {
        set_array(1);
        send_message(1, 4);
        return 1;
    } else if (strcmp(str, "ORDERED") == 0) {
        set_array(0);
        HAL_GPIO_TogglePin(GPIOE, GPIO_PIN_10);
        send_message(1, 5);
        return 1;
    }

    send_message(0, 4);
    return 0;
}

int extractPause(const char *received) {
    // Define the expected prefix and suffix for the command
    const char prefix[] = "Pause_After(";
    const char suffix[] = ")";

    // Check if the received string starts with the prefix
    if (strncmp(received, prefix, strlen(prefix)) != 0) {
        return 0; // Prefix doesn't match
    }

    // Find the start and end of the volume
    const char *secondStart = received + strlen(prefix);
    const char *secondEnd = strstr(secondStart, suffix);

    // If suffix not found or volume length exceeds the maximum allowed
    if (secondEnd == NULL) {
    	send_message(0, 3);
        return 0; // Invalid format or volume too long
    }

    for (const char *ptr = secondStart; ptr < secondEnd; ++ptr) {
		if (!isdigit(*ptr)) {
			send_message(0, 3);
			return 0; // Not a digit
		}
	}

    char str[5]; // Assuming volume can be at most 4 digits
	strncpy(str, secondStart, secondEnd - secondStart);
	str[secondEnd - secondStart] = '\0';

	// Extract and convert the music number
	second = atoi(str);

    return 1; // Volume extracted successfully
}

void send_message(int state,int type) {
	char buffer[100];
	char massage[50];
	uint32_t currentTime = HAL_GetTick();
	uint32_t currentSeconds = (currentTime / 1000) % 60; // Get current seconds
	uint32_t currentMinutes = (currentTime / 60000) % 60; // Get current minutes

	if (state){
		if (type>3 && type<6) {
			snprintf(massage, 50, "Play mode changed to %s", (type==4) ? "SHUFFLE" :  "ORDERED");
		} else {
			snprintf(massage, 50, "%s changed to %d", (type==1) ? "Music" : ((type==2) ? "Volume" : ((type==3) ? "Pause time" : "Brightness")), (type==1) ? music_number : ((type==2) ? volume : ((type==3) ? second : brightness)));
		}
	}else
		snprintf(massage, 50, "%s", (type==1) ? "Music not found" : ((type==2) ? "Volume not valid" : ( (type==3) ? "Pause time not valid" : ( (type==4 || type==5) ? "Play mode not valid" : "Brightness not valid"))));

	 snprintf(buffer, 100, "\n[%s][%s][%02d:%02d]",
	             (state) ? "INFO" : "ERROR", massage, currentMinutes, currentSeconds);
	HAL_UART_Transmit_IT(&huart2, buffer, strlen(buffer));
}

void HAL_UART_RxCpltCallback(UART_HandleTypeDef *huart) {
	if (huart->Instance == USART2) {

		HAL_UART_Receive_IT(&huart2, &d, 1);

		data[letter++] = d;
		data[letter]='\0';

		if (d== '\n' || d== '\r') {

			if (extractMusic(data)) {
				Update_music(music_number);
				send_message(1, 1);
			} else if (extractVolume(data)) {
				send_message(1, 2);
			}else if (extractPause(data)) {
				flag_second=1;
				second_pause=HAL_GetTick();
				send_message(1, 3);
			} else if (extractarray(data)) {

			} else if (extractLed(data)) {
				__HAL_TIM_SET_COMPARE(&htim1, TIM_CHANNEL_1, brightness*10);
				send_message(1, 6);
			}

			letter=0; data[0]='\0';
		}

	}
}

void HAL_GPIO_EXTI_Callback (uint16_t GPIO_Pin) {
	if (GPIO_Pin == GPIO_PIN_0) {
		if (HAL_GPIO_ReadPin(GPIOA, GPIO_PIN_0)) {
			if (HAL_GetTick() > last_butten_pressed +200) {
				last_butten_pressed = HAL_GetTick();
				PWM_Start();
				Update_music(0);

				HAL_GPIO_TogglePin(GPIOE, GPIO_PIN_15);
			}
		}
	}else if (GPIO_Pin == GPIO_PIN_6) {

		if (HAL_GPIO_ReadPin(GPIOD, GPIO_PIN_6)) {
			static uint32_t last_enter_time = 0;
			if (HAL_GetTick()- last_enter_time < DEBOUNCE_TIME){
				return;
			}

			press=1;
			debounce = HAL_GetTick();

		} else {

			if (press) {
				pause=!pause;
				HAL_GPIO_TogglePin(GPIOE, GPIO_PIN_12);

			}
			press=0;

		}

	}

	else if (GPIO_Pin == GPIO_PIN_7) {
		if (HAL_GPIO_ReadPin(GPIOD, GPIO_PIN_7)) {
			mode=2;
		} else {
			mode=1;
			Update_music(music_number);
		}

	}
	else if (GPIO_Pin == GPIO_PIN_8) {

		if (HAL_GPIO_ReadPin(GPIOD, GPIO_PIN_8)) {

			mode=3;
			HAL_GPIO_TogglePin(GPIOE, GPIO_PIN_15);

		} else {
			mode=1;
			HAL_GPIO_TogglePin(GPIOE, GPIO_PIN_15);

		}
	} else if (GPIO_Pin == GPIO_PIN_9) {

		if (HAL_GPIO_ReadPin(GPIOB, GPIO_PIN_9)) {

			mode=4;
			HAL_GPIO_TogglePin(GPIOE, GPIO_PIN_14);

		} else {
			mode=1;
			HAL_GPIO_TogglePin(GPIOE, GPIO_PIN_14);

		}
	}
}

void HAL_TIM_PeriodElapsedCallback(TIM_HandleTypeDef *htim) {
	if (htim->Instance == TIM6) {

		if (!pause) {

			Update_melody();
			refresh_7segments();
		} else {
			PWM_Cange_Tone(0, 0);

			D1_LOW;
			D2_LOW;
			D3_LOW;
			D4_LOW;
		}

		if (flag_second && HAL_GetTick() - second_pause >= second*1000 ) {
			flag_second=0;
			pause=1;
		}
	}
}

void HAL_ADC_ConvCpltCallback(ADC_HandleTypeDef* hadc) {
	if (hadc->Instance == ADC1) {

		if (!pause && mode==2) {

			music_number = ((HAL_ADC_GetValue(&hadc1)* (MAX_MUSIC)) / 4000)+1;

			if (music_number <1)
				music_number=1;
			if (music_number > MAX_MUSIC)
				music_number=MAX_MUSIC;

		}

		if (!pause && mode==3) {
			volume = ((HAL_ADC_GetValue(&hadc1)* 120) / 4000)-10;

			if (volume <0)
				volume=0;
			if (volume > 100)
				volume=100;

		}

		if (!pause && mode==4) {
			brightness = ((HAL_ADC_GetValue(&hadc1)* 80) / 4000)+25;

			if (brightness <30)
				brightness=30;
			if (brightness > 100)
				brightness=100;

			__HAL_TIM_SET_COMPARE(&htim1, TIM_CHANNEL_1, brightness*10);

		}

		HAL_ADC_Start_IT(&hadc1);
	}
}

/* USER CODE END 4 */

void Error_Handler(void)
{
  __disable_irq();
  while (1)
  {
  }
}
